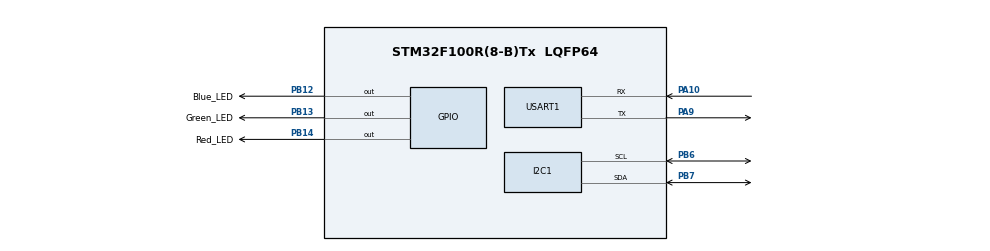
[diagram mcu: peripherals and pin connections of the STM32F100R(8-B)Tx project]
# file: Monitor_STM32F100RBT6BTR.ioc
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Dma.Request0=USART1_RX
Dma.USART1_RX.0.Direction=DMA_PERIPH_TO_MEMORY
Dma.USART1_RX.0.Instance=DMA1_Channel5
Dma.USART1_RX.0.MemDataAlignment=DMA_MDATAALIGN_BYTE
Dma.USART1_RX.0.MemInc=DMA_MINC_DISABLE
Dma.USART1_RX.0.Mode=DMA_CIRCULAR
Dma.USART1_RX.0.PeriphDataAlignment=DMA_PDATAALIGN_BYTE
Dma.USART1_RX.0.PeriphInc=DMA_PINC_DISABLE
Dma.USART1_RX.0.Priority=DMA_PRIORITY_LOW
Mcu.Family=STM32F1
Mcu.Name=STM32F100R(8-B)Tx
Mcu.Package=LQFP64
NVIC.DMA1_Channel5_IRQn=true\:0\:0\:false\:false\:true\:false\:true
NVIC.PriorityGroup=NVIC_PRIORITYGROUP_4
NVIC.USART1_IRQn=true\:0\:0\:false\:false\:true\:true\:true
PA0-WKUP.Mode=SYS_WakeUp0
PA0-WKUP.Signal=SYS_WKUP
PA10.Mode=Asynchronous
PA10.Signal=USART1_RX
PA13.Mode=Serial_Wire
PA13.Signal=SYS_JTMS-SWDIO
PA14.Mode=Serial_Wire
PA14.Signal=SYS_JTCK-SWCLK
PA9.Mode=Asynchronous
PA9.Signal=USART1_TX
PB12.GPIO_Label=Blue_LED
PB12.PinState=GPIO_PIN_SET
PB12.Signal=GPIO_Output
PB13.GPIO_Label=Green_LED
PB13.PinState=GPIO_PIN_SET
PB13.Signal=GPIO_Output
PB14.GPIO_Label=Red_LED
PB14.PinState=GPIO_PIN_SET
PB14.Signal=GPIO_Output
PB6.Mode=I2C
PB6.Signal=I2C1_SCL
PB7.Mode=I2C
PB7.Signal=I2C1_SDA
ProjectManager.HeapSize=0x200
ProjectManager.StackSize=0x400
ProjectManager.TargetToolchain=STM32CubeIDE
RCC.APB1Freq_Value=8000000
RCC.APB2Freq_Value=8000000
TIM1.AutoReloadPreload=TIM_AUTORELOAD_PRELOAD_ENABLE
TIM1.Channel-Output\ Compare1\ No\ Output=TIM_CHANNEL_1
TIM1.Prescaler=4
USART1.VirtualMode=VM_ASYNC
VP_TIM1_VS_ClockSourceINT.Mode=Internal
VP_TIM1_VS_no_output1.Mode=Output Compare1 No Output
board=custom

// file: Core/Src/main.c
/* USER CODE BEGIN Header */
/**
 ******************************************************************************
 * @file           : main.c
 * @brief          : Main program body
 ******************************************************************************
 * @attention
 *
 * <h2><center>&copy; Copyright (c) 2020 STMicroelectronics.
 * All rights reserved.</center></h2>
 *
 * This software component is licensed by ST under BSD 3-Clause license,
 * the "License"; You may not use this file except in compliance with the
 * License. You may obtain a copy of the License at:
 *                        opensource.org/licenses/BSD-3-Clause
 *
 ******************************************************************************
 */
/* USER CODE END Header */
#include "main.h"

/* USER CODE BEGIN Includes */
#include "string.h"

#include "MAX17320.h"
#include "AT_Comands_variables.h"
#include <stdio.h>

/* USER CODE END Includes */

/* USER CODE BEGIN PD */
#define LED_port GPIOB	//GPIO_TypeDef for LED port
#define Red_LED_pin GPIO_PIN_14 		//Red LED pin nr.
#define Green_LED_pin GPIO_PIN_13	//Green LED pin nr.
#define Blue_LED_pin GPIO_PIN_12		//Blue pin pin nr.

#define RxBufferLength 	24

/* USER CODE END PD */

I2C_HandleTypeDef hi2c1;

TIM_HandleTypeDef htim1;

UART_HandleTypeDef huart1;
DMA_HandleTypeDef hdma_usart1_rx;

/* USER CODE BEGIN PV */
I2C_HandleTypeDef hi2c1;

TIM_HandleTypeDef htim1;

UART_HandleTypeDef huart1;

float avgDieTemp;
float avgTemp1;
float avgTemp2;
float avgTemp3;
float avgTemp4;
float VC1;

uint8_t rxBuffer[RxBufferLength];
uint8_t rxByte;
uint16_t rxIdx;
uint8_t rxFlag;

uint8_t data[2]; //dit is array data 1 die ik in dataReg[0] wil zetten....
uint8_t data2[2]; //dit is array data 2 die ik in dataReg[1] wil zetten....
uint8_t dataReg[2];

uint8_t addressReg[2];
uint8_t nPackCfg[2];
/* USER CODE END PV */

void SystemClock_Config(void);
static void MX_GPIO_Init(void);
static void MX_DMA_Init(void);
static void MX_I2C1_Init(void);
static void MX_USART1_UART_Init(void);
static void MX_TIM1_Init(void);

/* USER CODE BEGIN 0 */
void RGBTurnOff() {
	HAL_GPIO_WritePin(Red_LED_GPIO_Port, Red_LED_Pin, GPIO_PIN_SET);
	HAL_GPIO_WritePin(Green_LED_GPIO_Port, Green_LED_Pin, GPIO_PIN_SET);
	HAL_GPIO_WritePin(Blue_LED_GPIO_Port, Blue_LED_Pin, GPIO_PIN_SET);
}
void RGBTurnRED() {
	HAL_GPIO_WritePin(Red_LED_GPIO_Port, Red_LED_Pin, GPIO_PIN_RESET);
	HAL_GPIO_WritePin(Green_LED_GPIO_Port, Green_LED_Pin, GPIO_PIN_SET);
	HAL_GPIO_WritePin(Blue_LED_GPIO_Port, Blue_LED_Pin, GPIO_PIN_SET);
}
void RGBTurnBlue() {
	HAL_GPIO_WritePin(Red_LED_GPIO_Port, Red_LED_Pin, GPIO_PIN_SET);
	HAL_GPIO_WritePin(Green_LED_GPIO_Port, Green_LED_Pin, GPIO_PIN_SET);
	HAL_GPIO_WritePin(Blue_LED_GPIO_Port, Blue_LED_Pin, GPIO_PIN_RESET);
}
void RGBTurnGreen() {
	HAL_GPIO_WritePin(Red_LED_GPIO_Port, Red_LED_Pin, GPIO_PIN_SET);
	HAL_GPIO_WritePin(Green_LED_GPIO_Port, Green_LED_Pin, GPIO_PIN_RESET);
	HAL_GPIO_WritePin(Blue_LED_GPIO_Port, Blue_LED_Pin, GPIO_PIN_SET);
}
void printDecimal(int data) {
	char buffer1[16];
	HAL_UART_Transmit(&huart1, (uint8_t*) buffer1,
			sprintf(buffer1, "%d\r\n", data), 500);

}

void printFloat(float dataFloat) {
	char buffer1[16];
	HAL_UART_Transmit(&huart1, (uint8_t*) buffer1,
			sprintf(buffer1, "%+.4f\r\n", dataFloat), 500);
}

void printHex(uint16_t data) {
	char buffer[16];
	HAL_UART_Transmit(&huart1, (uint8_t*) buffer,
			sprintf(buffer, "0x%04X\r\n", data), 500);

}
void printString(char *str) {
	HAL_UART_Transmit(&huart1, (uint8_t*) str, strlen(str), 100);
}
void printlnString(char *str) {

	HAL_UART_Transmit(&huart1, (uint8_t*) str, strlen(str), 100);
	printString("\r\n");
}

void printAT_Comand_Error(int errorNr) {
	printString("ERROR ");
	printDecimal(errorNr);
}

/*void printString(char dataString[]){
 char* buffer = dataString;
 HAL_UART_Transmit(&huart1, buffer, sizeof(buffer), 500);
 HAL_UART_Transmit(&huart1, "\r\n", sizeof("\r\n"), 100);

 }*/
/*
 *      Remove given section from string. Negative len means remove
 *      everything up to the end.
 */
int str_cut(char *str, int begin, int len) {
	int l = strlen(str);

	if (len < 0)
		len = l - begin;
	if (begin + len > l)
		len = l - begin;
	memmove(str + begin, str + begin + len, l - len + 1);

	return len;
}

uint32_t stringToInt(char *str) {
	str_cut(str, 4, -1);

	//int l = strlen(str);
	return str[0] << 24 | str[1] << 16 | str[2] << 8 | str[3];

}

void HAL_UART_RxCpltCallback(UART_HandleTypeDef *huart) {
	if (huart->Instance == USART1) {
		__HAL_UART_FLUSH_DRREGISTER(&huart1);
		if (rxByte == 13 || rxByte == 10 || rxIdx >= 23) {
			//rxBuffer[rxIdx] = rxByte;
			rxFlag = 1;
			rxIdx = 0;
		} else {
			rxBuffer[rxIdx] = rxByte;
			rxIdx++;
		}
	}

}
void MAX17320Config() {
	//settings of MAX17320
	//boot up time
	RGBTurnBlue();

	//FullReset(&hi2c1);

	HAL_Delay(500); //wait 500ms to make sure MAX17320 is ready

	data[0] = 0x0A; //LSB
	data[1] = 0x22; //MSB

	nsetReg(&hi2c1, nPackCfgReg, data);

	//data[0] = 0x00; //LSB
	//data[1] = 0x00; //MSB
	//nsetReg(&hi2c1, nProtCfgReg, data);

	data[0] = 0xC8; //LSB
	data[1] = 0x00; //MSB
	nsetReg(&hi2c1, nRSenseReg, data);
	data[0] = 0x4B; //LSB
	data[1] = 0x01; //MSB
	nsetReg(&hi2c1, nHProtCfg2Reg, data);
	data[0] = 0x61; //LSB
	data[1] = 0x1C; //MSB
	nsetReg(&hi2c1, nBalThReg, data);
	data[0] = 0x10; //LSB
	data[1] = 0x04; //MSB
	nsetReg(&hi2c1, nProtCfgReg, data);
	data[0] = 0x00; //LSB
	data[1] = 0x00; //MSB
	nsetReg(&hi2c1, nBattStatusReg, data);
	data[0] = 0x00; //LSB
	data[1] = 0x00; //MSB
	nsetReg(&hi2c1, nFaultLogReg, data);

	for (int var = 0; var < 10; ++var) {

		getRepCap(&hi2c1);
		HAL_Delay(10);
		getRepSoC(&hi2c1);
		HAL_Delay(10);
		getTTE(&hi2c1);
		HAL_Delay(10);
		getTTF(&hi2c1);
		HAL_Delay(10);
		getVC1(&hi2c1);
		HAL_Delay(10);
		getVC2(&hi2c1);
		HAL_Delay(10);
		getVC3(&hi2c1);
		HAL_Delay(10);
		getVC4(&hi2c1);
		HAL_Delay(10);
		getVT(&hi2c1);
		HAL_Delay(10);
		getCurrent(&hi2c1);
		HAL_Delay(10);
		getTemp1(&hi2c1);
		HAL_Delay(10);
		getTemp2(&hi2c1);
		HAL_Delay(10);
		getTemp3(&hi2c1);
		HAL_Delay(10);
		getTemp4(&hi2c1);
		HAL_Delay(10);
		getAvgDieTemp(&hi2c1);
		HAL_Delay(10);
		getStatus(&hi2c1);
		HAL_Delay(10);
		getStatus2(&hi2c1);
		HAL_Delay(10);
		getProtStatus(&hi2c1);
		HAL_Delay(10);
		getProtAlrtStatus(&hi2c1);
		HAL_Delay(10);
		getCommStatus(&hi2c1);
		HAL_Delay(10);

	}
	RGBTurnOff();
}
/* USER CODE END 0 */

int main(void) {

	/* MCU Configuration--------------------------------------------------------*/

	/* Reset of all peripherals, Initializes the Flash interface and the Systick. */
	HAL_Init();

	/* Configure the system clock */
	SystemClock_Config();

	/* Initialize all configured peripherals */
	MX_GPIO_Init();
	MX_DMA_Init();
	MX_I2C1_Init();
	MX_USART1_UART_Init();
	MX_TIM1_Init();
	/* USER CODE BEGIN 2 */

	//HAL_TIM_Base_Start_IT(&htim1);
	HAL_I2C_Init(&hi2c1);
	//HAL_UART_Receive_IT(&huart1, UART_RX_buffer, 10);
	__HAL_UART_FLUSH_DRREGISTER(&huart1);
	HAL_UART_Receive_DMA(&huart1, &rxByte, 1);
	//MAX17320Init(&hi2c1);

	MAX17320Config();

	/* USER CODE END 2 */

	/* Infinite loop */
	/* USER CODE BEGIN WHILE */
	while (1) {
		/*HAL_Delay(1000);
		 HAL_GPIO_WritePin(GPIOB, GPIO_PIN_12, 0);
		 HAL_GPIO_WritePin(GPIOB, GPIO_PIN_13, 1);
		 HAL_GPIO_WritePin(GPIOB, GPIO_PIN_14, 1);
		 HAL_Delay(1000);
		 HAL_GPIO_WritePin(GPIOB, GPIO_PIN_12, 1);
		 HAL_GPIO_WritePin(GPIOB, GPIO_PIN_13, 0);
		 HAL_GPIO_WritePin(GPIOB, GPIO_PIN_14, 1);
		 HAL_Delay(1000);
		 HAL_GPIO_WritePin(GPIOB, GPIO_PIN_12, 1);
		 HAL_GPIO_WritePin(GPIOB, GPIO_PIN_13, 1);
		 HAL_GPIO_WritePin(GPIOB, GPIO_PIN_14, 0);
		 */
		//HAL_Delay(1000);
		/*		uint8_t input[8];
		 uint8_t batt[2];
		 uint8_t status[2];
		 uint8_t status2[2];
		 uint8_t ProtStatus[2];
		 uint8_t ProtAlrt[2];
		 uint8_t nRSense[2];

		 uint8_t CommStat[2];

		 uint8_t lock[2];
		 uint8_t nBattStatus[2];
		 uint8_t nHProtCfg2[2];
		 uint8_t nTAlrtTh[2];
		 uint8_t nProtCfg[2];
		 uint8_t nFaultLog[2];

		 uint8_t standaardReg[] = { StatusReg, RepCapReg, RepSOCReg, VCellReg,
		 TempReg, CurrentReg,
		 TTEReg, TTFReg, ProtStatusReg, ProtAlrtReg };
		 uint8_t standaardRegOut[10][2];

		 //clear Status
		 setReg(&hi2c1, StatusReg, 0x0000);
		 //clear ProtStatus
		 setReg(&hi2c1, ProtStatusReg, 0x0000);
		 //clear ProtAlrt
		 setReg(&hi2c1, ProtAlrtReg, 0x0000);
		 //clear commStat
		 //setReg(&hi2c1, CommStatReg, 0x0000);

		 for (int var1 = 0; var1 < 10; var1++) {
		 HAL_I2C_Mem_Read(&hi2c1, 0x6C, standaardReg[var1], 1,
		 standaardRegOut[var1], 2, 100);
		 }*/

		//char buffer[16];
		//HAL_I2C_Master_Transmit(&hi2c1, 0x6C, 0xE2FB, sizeof(0xE2FB), 100);
		//HAL_Delay(5);
		//HAL_I2C_Mem_Read(&hi2c1, 0x16, 0x35, 1, input, 2, 100); //werkt!
		//HAL_I2C_Mem_Read(&hi2c1, 0x6C, 0x1C, 1, &input, 2, 100); //read current
		/*
		 data[0] = 0x0A; //LSB
		 data[1] = 0x22; //MSB
		 uint8_t uit;
		 //uit = nsetReg(&hi2c1, nPackCfgReg, data);
		 nsetRegMulti(&hi2c1, addressReg, dataReg, 2);
		 data[0] = 0xC8; //LSB
		 data[1] = 0x00; //MSB
		 nsetReg(&hi2c1, nRSenseReg, data);
		 */

		/*		HAL_I2C_Mem_Read(&hi2c1, 0x16, nPackCfgReg, 1, nPackCfg, 2, 100);
		 HAL_I2C_Mem_Read(&hi2c1, 0x16, nRSenseReg, 1, nRSense, 2, 100);
		 HAL_I2C_Mem_Read(&hi2c1, 0x16, 0xF1, 1, nHProtCfg2, 2, 100);
		 HAL_I2C_Mem_Read(&hi2c1, 0x16, nProtCfgReg, 1, nProtCfg, 2, 100);
		 HAL_I2C_Mem_Read(&hi2c1, 0x16, nFaultLogReg, 1, nFaultLog, 2, 100);

		 HAL_I2C_Mem_Read(&hi2c1, 0x6C, 0x61, 1, CommStat, 2, 100);

		 HAL_I2C_Mem_Read(&hi2c1, 0x6C, 0x7F, 1, lock, 2, 100); // read format of lock register
		 HAL_Delay(10);

		 HAL_I2C_Mem_Read(&hi2c1, 0x16, nTAlrtThReg, 1, nTAlrtTh, 2, 100);*/
		//HAL_I2C_Mem_Read(&hi2c1, 0x6C, 0xB0, 1, input, 2, 100);//read status2 register
		//input[0] = 0x08; //LSB
		//input[1] = 0x00; //MSB
		//HAL_I2C_Mem_Write(&hi2c1, 0x16, 0xF1, 1, input, 2, 100);
		//HAL_I2C_Mem_Read(&hi2c1, 0x16, 0xF1, 1, input, 2, 100);
		/*
		 HAL_I2C_Mem_Read(&hi2c1, 0x6C, 0x00, 1, status, 2, 100); //read status register
		 HAL_Delay(10);
		 HAL_I2C_Mem_Read(&hi2c1, 0x6C, 0xB0, 1, status2, 2, 100); //read status2 register
		 HAL_Delay(10);
		 HAL_I2C_Mem_Read(&hi2c1, 0x6C, 0xD9, 1, ProtStatus, 2, 100); //read ProtStatus register
		 HAL_Delay(10);
		 HAL_I2C_Mem_Read(&hi2c1, 0x6C, 0xAF, 1, ProtAlrt, 2, 100); //read ProtAlrt register
		 */

		/*
		 * ProtAlrt 0x1808
		 * p 92
		 * TooColdc, OVP
		 */

		/*		HAL_Delay(10);

		 HAL_I2C_Mem_Read(&hi2c1, 0x16, 0xA8, 1, nBattStatus, 2, 100); //read nBattStatus register
		 HAL_Delay(10);

		 HAL_I2C_Mem_Read(&hi2c1, 0x6C, 0xD5, 1, input, 8, 100); //read voltages
		 HAL_Delay(10);
		 HAL_I2C_Mem_Read(&hi2c1, 0x6C, 0xDA, 1, batt, 2, 100); //read voltages
		 HAL_Delay(10);

		 avgDieTemp = getAvgDieTemp(&hi2c1);
		 avgTemp1 = getTemp1(&hi2c1);
		 avgTemp2 = getTemp2(&hi2c1);
		 avgTemp3 = getTemp3(&hi2c1);
		 avgTemp4 = getTemp4(&hi2c1);
		 */
		//VC1 = getVC1(&hi2c1);
		//char buffer2[] = "hello world! I'm alive!\r\n";
		//printString("Hello...\r\n");
		//HAL_UART_Transmit(&huart1, "\r\n", sizeof("\r\n"), 100);
		//HAL_UART_Transmit(&huart1, buffer2, sizeof(buffer2), 500);
		//HAL_UART_Transmit(&huart1, "\r\n", sizeof("\r\n"), 100);
		//HAL_UART_Transmit(&huart1, (uint8_t*)buffer, sprintf(buffer, "%d", input[0]), 500);
		//HAL_UART_Transmit(&huart1, (uint8_t*)buffer, sprintf(buffer, "%d", (uint8_t)VC1), 500);
		//char buffer3[] = ".";
		//HAL_UART_Transmit(&huart1, buffer3, sizeof(buffer3), 500);
		//HAL_UART_Transmit(&huart1, (uint8_t*)buffer, sprintf(buffer, "%d", (int)((VC1*10000)-(((uint8_t)VC1)*10000))), 500);
		//printString(&buffer2);
		/*printFloat(getVC1(&hi2c1));
		 printFloat(getVC2(&hi2c1));
		 printFloat(getVC3(&hi2c1));
		 printFloat(getVC4(&hi2c1));
		 printFloat(getVT(&hi2c1));
		 printFloat(getCurrent(&hi2c1));
		 //float current =getCurrent(&hi2c1);
		 //print2scompliment(current);
		 //printBinair(current);
		 printFloat(avgTemp1);
		 printFloat(avgTemp2);
		 printFloat(avgTemp3);
		 printFloat(avgTemp4);
		 printHex(getStatus(&hi2c1));
		 */
		uint8_t data1[2];
		if (rxFlag == 1) {
			RGBTurnRED();
			rxFlag = 0;

			printlnString(rxBuffer);

			if (rxBuffer[0] == 'A' && rxBuffer[1] == 'T'
					&& rxBuffer[2] == '+') {
				str_cut(rxBuffer, 0, 3); //cut AT+ off
				//printlnString(rxBuffer);

				switch (stringToInt(rxBuffer)) {
				case 'O' << 24 | 'K' << 16 | '?' << 8 | 0:
					printlnString("OK");
					break;
				case 'O' << 24 | 'V' << 16 | '?' << 8 | 0:
					printlnString("Overview:\r\n");

					printlnString("Reported remaining Capacity: [Ah]");
					printFloat(getRepCap(&hi2c1));
					printlnString("Reported state of charge: [%]");
					printFloat(getRepSoC(&hi2c1));
					printlnString("Time to empty: [s]");
					printFloat(getTTE(&hi2c1));
					printlnString("Time to full: [s]");
					printFloat(getTTF(&hi2c1));
					printlnString("Cell voltage 1: [V]");
					printFloat(getVC1(&hi2c1));
					printlnString("Cell voltage 2: [V]");
					printFloat(getVC2(&hi2c1));
					printlnString("Cell voltage 3: [V]");
					printFloat(getVC3(&hi2c1));
					printlnString("Cell voltage 4: [V]");
					printFloat(getVC4(&hi2c1));
					printlnString("Cell voltage of total pack: [V]");
					printFloat(getVT(&hi2c1));
					printlnString("Current from system to battery: [A]");
					printFloat(getCurrent(&hi2c1));
					printlnString("Temperature 1: [°C]");
					printFloat(getTemp1(&hi2c1));
					printlnString("Temperature 2: [°C]");
					printFloat(getTemp2(&hi2c1));
					printlnString("Temperature 3: [°C]");
					printFloat(getTemp3(&hi2c1));
					printlnString("Temperature 4: [°C]");
					printFloat(getTemp4(&hi2c1));
					printlnString("Die temperature: [°C]");
					printFloat(getAvgDieTemp(&hi2c1));
					printlnString("Status register: [Hex]");
					printHex(getStatus(&hi2c1));
					printlnString("Status2 register: [Hex]");
					printHex(getStatus2(&hi2c1));
					printlnString("ProtStatus register: [Hex]");
					printHex(getProtStatus(&hi2c1));
					printlnString("ProtAlrt register: [Hex]");
					printHex(getProtAlrtStatus(&hi2c1));
					printlnString("CommStatus register: [Hex]");
					printHex(getCommStatus(&hi2c1));

					break;
				case 'E' << 24 | 'N' << 16 | 'P' << 8 | 'B':
					//DO TO enable passive balancing
					printlnString("ENPB OK");
					break;
				case 'D' << 24 | 'S' << 16 | 'P' << 8 | 'B':
					//DO TO Disable passive balancing
					printlnString("DSPB OK");
					break;
				case 'R' << 24 | 'C' << 16 | '?' << 8 | 0:
					printString("RC: ");
					printFloat(getRepCap(&hi2c1));
					break;
				case 'R' << 24 | 'S' << 16 | 'C' << 8 | '?':
					printString("RSC: ");
					printFloat(getRepSoC(&hi2c1));
					break;
				case 'T' << 24 | 'T' << 16 | 'E' << 8 | '?':
					printString("TTE: ");
					printFloat(getTTE(&hi2c1));
					break;
				case 'T' << 24 | 'T' << 16 | 'F' << 8 | '?':
					printString("TTF: ");
					printFloat(getTTF(&hi2c1));
					break;
				case 'C' << 24 | 'V' << 16 | '1' << 8 | '?':
					printString("CV1: ");
					printFloat(getVC1(&hi2c1));
					break;
				case 'C' << 24 | 'V' << 16 | '2' << 8 | '?':
					printString("CV2: ");
					printFloat(getVC2(&hi2c1));
					break;
				case 'C' << 24 | 'V' << 16 | '3' << 8 | '?':
					printString("CV3: ");
					printFloat(getVC3(&hi2c1));
					break;
				case 'C' << 24 | 'V' << 16 | '4' << 8 | '?':
					printString("CV4: ");
					printFloat(getVC4(&hi2c1));
					break;
				case 'C' << 24 | 'V' << 16 | 'T' << 8 | '?':
					printString("CVT: ");
					printFloat(getVT(&hi2c1));
					break;
				case 'P' << 24 | 'C' << 16 | '?' << 8 | 0:
					printString("PC: ");
					printFloat(getCurrent(&hi2c1));
					break;
				case 'T' << 24 | 'H' << 16 | '1' << 8 | '?':
					printString("TH1: ");
					printFloat(getTemp1(&hi2c1));
					break;
				case 'T' << 24 | 'H' << 16 | '2' << 8 | '?':
					printString("TH2: ");
					printFloat(getTemp2(&hi2c1));
					break;
				case 'T' << 24 | 'H' << 16 | '3' << 8 | '?':
					printString("TH3: ");
					printFloat(getTemp3(&hi2c1));
					break;
				case 'T' << 24 | 'H' << 16 | '4' << 8 | '?':
					printString("TH4: ");
					printFloat(getTemp4(&hi2c1));
					break;
				case 'T' << 24 | 'H' << 16 | 'D' << 8 | '?':
					printString("THD: ");
					printFloat(getAvgDieTemp(&hi2c1));
					break;
				case 'S' << 24 | 'T' << 16 | '1' << 8 | '?':
					printString("ST1: ");
					printHex(getStatus(&hi2c1));
					break;
				case 'S' << 24 | 'T' << 16 | '2' << 8 | '?':
					printString("ST2: ");
					printHex(getStatus2(&hi2c1));
					break;
				case 'S' << 24 | 'T' << 16 | '3' << 8 | '?':
					printString("ST3: ");
					printHex(getProtStatus(&hi2c1));
					break;
				case 'S' << 24 | 'T' << 16 | '4' << 8 | '?':
					printString("ST4: ");
					printHex(getProtAlrtStatus(&hi2c1));
					break;
				case 'S' << 24 | 'T' << 16 | '5' << 8 | '?':
					printString("ST5: ");
					printHex(getCommStatus(&hi2c1));
					break;
				case 'R' << 24 | 'S' << 16 | 'T' << 8 | 0:
					printString("RESET ");
					RGBTurnBlue();

					if (FullReset(&hi2c1) == 0) {
						RGBTurnOff();
						printlnString("OK");
					} else
						printlnString("NOK");

					break;
				case 'I' << 24 | 'N' << 16 | 'T' << 8 | 0:
					printString("INT ");
					RGBTurnBlue();
					MAX17320Config();
					printlnString("OK");
					RGBTurnOff();

					break;

					/*				case 'F' << 24 | 'T' << 16 | 'O' << 8 | 'F':
					 printlnString("FTOF");
					 //commStat

					 data1[0] = 0x00; //LSB
					 data1[1] = 0x00; //MSB
					 setReg(&hi2c1, CommStatReg, data1);
					 setReg(&hi2c1, CommStatReg, data1);
					 data1[0] = 0x00; //LSB
					 data1[1] = 0x03; //MSB
					 setReg(&hi2c1, CommStatReg, data1);
					 data1[0] = 0xF9; //LSB
					 data1[1] = 0x03; //MSB
					 setReg(&hi2c1, CommStatReg, data1);
					 setReg(&hi2c1, CommStatReg, data1);
					 break;
					 case 'F' << 24 | 'T' << 16 | 'O' << 8 | 'N':
					 printlnString("FTON");
					 //data1[2];
					 data1[0] = 0x00; //LSB
					 data1[1] = 0x00; //MSB
					 setReg(&hi2c1, CommStatReg, data1);
					 setReg(&hi2c1, CommStatReg, data1);
					 data1[0] = 0x0F9; //LSB
					 data1[1] = 0x00; //MSB
					 setReg(&hi2c1, CommStatReg, data1);
					 data1[0] = 0xF9; //LSB
					 data1[1] = 0x00; //MSB
					 setReg(&hi2c1, CommStatReg, data1);
					 setReg(&hi2c1, CommStatReg, data1);
					 break;*/
				default:
					printAT_Comand_Error(AT_WRONG_COMMAND);
					break;
				}

			} else
				printAT_Comand_Error(AT_WRONG_COMMAND);

			for (int var = 0; var < RxBufferLength; var++) {
				rxBuffer[var] = 0;
			}
			//HAL_Delay(1000);
			RGBTurnOff();
		}
		/*
		 * char in[8];
		 HAL_UART_Receive(&huart1, (uint8_t *)in, 8, 1000);

		 HAL_UART_Transmit(&huart1, "\r\n", sizeof("\r\n"), 100);

		 HAL_UART_Transmit(&huart1, (uint8_t *)in, 8, 1);
		 HAL_UART_Transmit(&huart1, "\r\n", sizeof("\r\n"), 100);*/

		//char buffer[] = "test2\r\n";
		// HAL_UART_Transmit(&huart1, buffer, sizeof(buffer), 100);
		/* USER CODE END WHILE */

	}
}

void SystemClock_Config(void) {
	RCC_OscInitTypeDef RCC_OscInitStruct = { 0 };
	RCC_ClkInitTypeDef RCC_ClkInitStruct = { 0 };

	/** Initializes the RCC Oscillators according to the specified parameters
	 * in the RCC_OscInitTypeDef structure.
	 */
	RCC_OscInitStruct.OscillatorType = RCC_OSCILLATORTYPE_HSI;
	RCC_OscInitStruct.HSIState = RCC_HSI_ON;
	RCC_OscInitStruct.HSICalibrationValue = RCC_HSICALIBRATION_DEFAULT;
	RCC_OscInitStruct.PLL.PLLState = RCC_PLL_NONE;
	if (HAL_RCC_OscConfig(&RCC_OscInitStruct) != HAL_OK) {
		Error_Handler();
	}
	/** Initializes the CPU, AHB and APB buses clocks
	 */
	RCC_ClkInitStruct.ClockType = RCC_CLOCKTYPE_HCLK | RCC_CLOCKTYPE_SYSCLK
			| RCC_CLOCKTYPE_PCLK1 | RCC_CLOCKTYPE_PCLK2;
	RCC_ClkInitStruct.SYSCLKSource = RCC_SYSCLKSOURCE_HSI;
	RCC_ClkInitStruct.AHBCLKDivider = RCC_SYSCLK_DIV1;
	RCC_ClkInitStruct.APB1CLKDivider = RCC_HCLK_DIV1;
	RCC_ClkInitStruct.APB2CLKDivider = RCC_HCLK_DIV1;

	if (HAL_RCC_ClockConfig(&RCC_ClkInitStruct, FLASH_LATENCY_0) != HAL_OK) {
		Error_Handler();
	}
}

static void MX_I2C1_Init(void) {

	hi2c1.Instance = I2C1;
	hi2c1.Init.ClockSpeed = 100000;
	hi2c1.Init.DutyCycle = I2C_DUTYCYCLE_2;
	hi2c1.Init.OwnAddress1 = 0;
	hi2c1.Init.AddressingMode = I2C_ADDRESSINGMODE_7BIT;
	hi2c1.Init.DualAddressMode = I2C_DUALADDRESS_DISABLE;
	hi2c1.Init.OwnAddress2 = 0;
	hi2c1.Init.GeneralCallMode = I2C_GENERALCALL_DISABLE;
	hi2c1.Init.NoStretchMode = I2C_NOSTRETCH_DISABLE;
	if (HAL_I2C_Init(&hi2c1) != HAL_OK) {
		Error_Handler();
	}

}

static void MX_TIM1_Init(void) {

	TIM_ClockConfigTypeDef sClockSourceConfig = { 0 };
	TIM_MasterConfigTypeDef sMasterConfig = { 0 };
	TIM_OC_InitTypeDef sConfigOC = { 0 };
	TIM_BreakDeadTimeConfigTypeDef sBreakDeadTimeConfig = { 0 };

	htim1.Instance = TIM1;
	htim1.Init.Prescaler = 4;
	htim1.Init.CounterMode = TIM_COUNTERMODE_UP;
	htim1.Init.Period = 65535;
	htim1.Init.ClockDivision = TIM_CLOCKDIVISION_DIV1;
	htim1.Init.RepetitionCounter = 0;
	htim1.Init.AutoReloadPreload = TIM_AUTORELOAD_PRELOAD_ENABLE;
	if (HAL_TIM_Base_Init(&htim1) != HAL_OK) {
		Error_Handler();
	}
	sClockSourceConfig.ClockSource = TIM_CLOCKSOURCE_INTERNAL;
	if (HAL_TIM_ConfigClockSource(&htim1, &sClockSourceConfig) != HAL_OK) {
		Error_Handler();
	}
	if (HAL_TIM_OC_Init(&htim1) != HAL_OK) {
		Error_Handler();
	}
	sMasterConfig.MasterOutputTrigger = TIM_TRGO_RESET;
	sMasterConfig.MasterSlaveMode = TIM_MASTERSLAVEMODE_DISABLE;
	if (HAL_TIMEx_MasterConfigSynchronization(&htim1, &sMasterConfig)
			!= HAL_OK) {
		Error_Handler();
	}
	sConfigOC.OCMode = TIM_OCMODE_TIMING;
	sConfigOC.Pulse = 0;
	sConfigOC.OCPolarity = TIM_OCPOLARITY_HIGH;
	sConfigOC.OCNPolarity = TIM_OCNPOLARITY_HIGH;
	sConfigOC.OCFastMode = TIM_OCFAST_DISABLE;
	sConfigOC.OCIdleState = TIM_OCIDLESTATE_RESET;
	sConfigOC.OCNIdleState = TIM_OCNIDLESTATE_RESET;
	if (HAL_TIM_OC_ConfigChannel(&htim1, &sConfigOC, TIM_CHANNEL_1) != HAL_OK) {
		Error_Handler();
	}
	sBreakDeadTimeConfig.OffStateRunMode = TIM_OSSR_DISABLE;
	sBreakDeadTimeConfig.OffStateIDLEMode = TIM_OSSI_DISABLE;
	sBreakDeadTimeConfig.LockLevel = TIM_LOCKLEVEL_OFF;
	sBreakDeadTimeConfig.DeadTime = 0;
	sBreakDeadTimeConfig.BreakState = TIM_BREAK_DISABLE;
	sBreakDeadTimeConfig.BreakPolarity = TIM_BREAKPOLARITY_HIGH;
	sBreakDeadTimeConfig.AutomaticOutput = TIM_AUTOMATICOUTPUT_DISABLE;
	if (HAL_TIMEx_ConfigBreakDeadTime(&htim1, &sBreakDeadTimeConfig)
			!= HAL_OK) {
		Error_Handler();
	}

}

static void MX_USART1_UART_Init(void) {

	huart1.Instance = USART1;
	huart1.Init.BaudRate = 115200;
	huart1.Init.WordLength = UART_WORDLENGTH_8B;
	huart1.Init.StopBits = UART_STOPBITS_1;
	huart1.Init.Parity = UART_PARITY_NONE;
	huart1.Init.Mode = UART_MODE_TX_RX;
	huart1.Init.HwFlowCtl = UART_HWCONTROL_NONE;
	huart1.Init.OverSampling = UART_OVERSAMPLING_16;
	if (HAL_UART_Init(&huart1) != HAL_OK) {
		Error_Handler();
	}

}

static void MX_DMA_Init(void) {

	/* DMA controller clock enable */
	__HAL_RCC_DMA1_CLK_ENABLE();

	/* DMA interrupt init */
	/* DMA1_Channel5_IRQn interrupt configuration */
	HAL_NVIC_SetPriority(DMA1_Channel5_IRQn, 0, 0);
	HAL_NVIC_EnableIRQ(DMA1_Channel5_IRQn);

}

static void MX_GPIO_Init(void) {
	GPIO_InitTypeDef GPIO_InitStruct = { 0 };

	/* GPIO Ports Clock Enable */
	__HAL_RCC_GPIOA_CLK_ENABLE();
	__HAL_RCC_GPIOB_CLK_ENABLE();

	/*Configure GPIO pin Output Level */
	HAL_GPIO_WritePin(GPIOB, Blue_LED_Pin | Green_LED_Pin | Red_LED_Pin,
			GPIO_PIN_SET);

	/*Configure GPIO pins : Blue_LED_Pin Green_LED_Pin Red_LED_Pin */
	GPIO_InitStruct.Pin = Blue_LED_Pin | Green_LED_Pin | Red_LED_Pin;
	GPIO_InitStruct.Mode = GPIO_MODE_OUTPUT_PP;
	GPIO_InitStruct.Pull = GPIO_NOPULL;
	GPIO_InitStruct.Speed = GPIO_SPEED_FREQ_LOW;
	HAL_GPIO_Init(GPIOB, &GPIO_InitStruct);

}

void Error_Handler(void) {
	/* USER CODE BEGIN Error_Handler_Debug */
	/* User can add his own implementation to report the HAL error return state */
	HAL_GPIO_WritePin(LED_port, Red_LED_pin, 0); //turn Red LED on
	HAL_GPIO_WritePin(LED_port, Green_LED_pin, 1); //turn Green LED off
	HAL_GPIO_WritePin(LED_port, Blue_LED_pin, 1); // turn Blue LED off
	/* USER CODE END Error_Handler_Debug */
}

/************************ (C) COPYRIGHT STMicroelectronics *****END OF FILE****/
